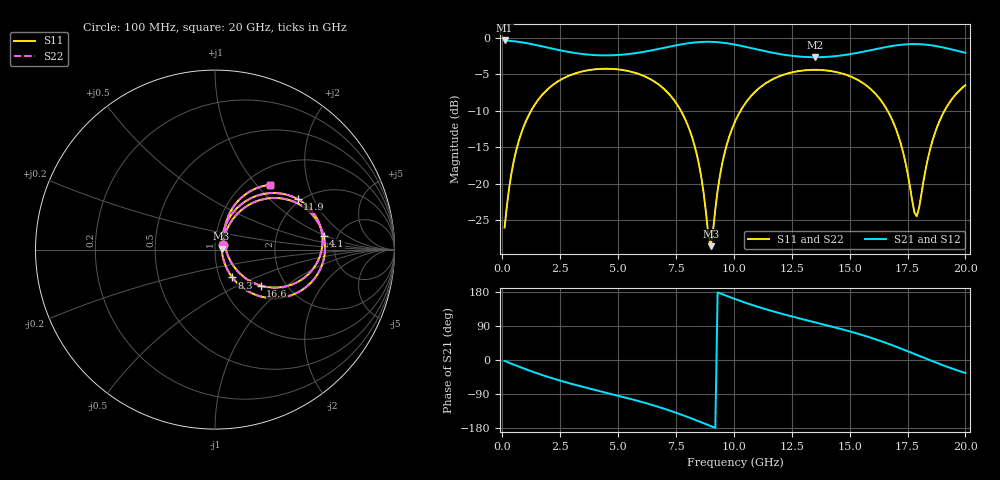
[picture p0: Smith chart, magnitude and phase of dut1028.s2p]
! Touchstone file exported from HFSS 2026.1.0
!  File:  C:/ffzhzh/LocalFiles/Ansys_Project_Files/temp_train_TSV_RDL_1028_1783293546_30076.aedt
!  Generated:  07:37:18 AM Jul  6, 2026
!  Design:  TSV_RDL
!  Project:  temp_train_TSV_RDL_1028_1783293546_30076
! Variables:
!  h_bsmrdl = 4.25um
!  h_ox = 20um
!  h_rdl = 5um
!  h_sub = 62.21um
!  h_tmrdl = 3.53um
!  h_tsv = 62.21um
!  h_via = 3um
!  l_bsmrdl = 901.27um
!  l_sub = 6687.52um
!  l_tmrdl = 870.09um
!  m_sub = 200um
!  pitch = 47.38um
!  r_tsv = 5.08um
!  s_tmrdl = 10um
!  w_bsmrdl = 22.92um
!  w_sub = 500um
!  w_tmrdl = 11.53um
!  x_tsv_center1 = 875.855um
!  x_tsv_center2 = 1800.045um
!  x_tsv_center3 = 2681.665um
!  x_tsv_center4 = 3605.855um
!  x_tsv_center5 = 4487.475um
!  x_tsv_center6 = 5411.665um
# GHz S MA R 50.000000
! Terminal data exported
! Port[1] = TM_RDL1_1_T1
! Port[2] = TM_RDL5_1_T1
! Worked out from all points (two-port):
!   200 points, 100 MHz to 20 GHz, reference 50 ohm
!   highest |S21| = -0.37 dB at 100 MHz (marker M1); lowest = -2.7 dB at 13.5 GHz (marker M2)
!   |S21| within 3 dB of the highest: start of sweep to end of sweep
!   lowest |S11| = -28.6 dB at 9 GHz (marker M3), VSWR 1.08, Z = 53.8 + j0.541 ohm
!   |S11| at or under -10 dB: start of sweep to 1.248 GHz; 7.71 GHz to 10.29 GHz (2.583 GHz wide, 28.7 % of centre); 16.64 GHz to 19.1 GHz (2.463 GHz wide, 13.8 % of centre)
!   |S22| runs from -28.5 to -4.2 dB; largest |S21 - S12| = 1.5e-14
!   S11 on the Smith chart (normalised r, x): 100 MHz: 1.09, +0.06; 4.1 GHz: 3.88, +0.94; 8.3 GHz: 1.15, -0.37; 11.9 GHz: 1.91, +1.52; 16.6 GHz: 1.50, -0.67; 20 GHz: 1.27, +1.18
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0.1  0.0499 32.7  0.9588 -2.5  0.9588 -2.5  0.0499 32.7
! Gamma 0 0 0 0
! Port Impedance 50 0 50 0
0.5  0.1438 60.0  0.9471 -12.4  0.9471 -12.4  0.1438 60.0
1.1  0.2852 54.9  0.9158 -26.3  0.9158 -26.3  0.2852 54.9
2.2  0.477 36.4  0.8396 -49.0  0.8396 -49.0  0.4771 36.4
3.5  0.5901 15.9  0.7728 -71.2  0.7728 -71.2  0.5901 15.9
4.1  0.6098 7.2  0.7594 -80.5  0.7594 -80.5  0.6098 7.2
5.4  0.5932 -11.7  0.7718 -100.5  0.7718 -100.5  0.5933 -11.7
6.8  0.4717 -34.1  0.8418 -124.9  0.8418 -124.9  0.4717 -34.0
8.3  0.1828 -58.2  0.9288 -157.3  0.9288 -157.3  0.1829 -58.0
9  0.03717 7.8  0.9385 -174.2  0.9385 -174.2  0.03764 7.7
9.5  0.1378 66.5  0.9264 173.7  0.9264 173.7  0.1379 66.3
10.1  0.2764 61.0  0.8948 159.8  0.8948 159.8  0.2765 60.9
11.9  0.5395 31.4  0.7776 124.8  0.7776 124.8  0.5395 31.4
13.4  0.6026 9.7  0.7359 101.1  0.7359 101.1  0.6026 9.7
13.5  0.6029 8.3  0.7357 99.5  0.7357 99.5  0.6029 8.3
15  0.5462 -13.2  0.7713 75.6  0.7713 75.6  0.5462 -13.3
16.6  0.3241 -38.2  0.8655 44.4  0.8655 44.4  0.324 -38.4
16.7  0.3034 -39.6  0.8713 42.2  0.8713 42.2  0.3033 -39.8
17.3  0.1661 -43.3  0.8982 28.1  0.8982 28.1  0.1659 -43.6
17.9  0.05966 17.4  0.9055 13.3  0.9055 13.3  0.05877 17.4
18.7  0.2258 67.9  0.879 -6.2  0.879 -6.2  0.2256 68.1
20  0.4734 49.7  0.7893 -34.2  0.7893 -34.2  0.4733 49.7
